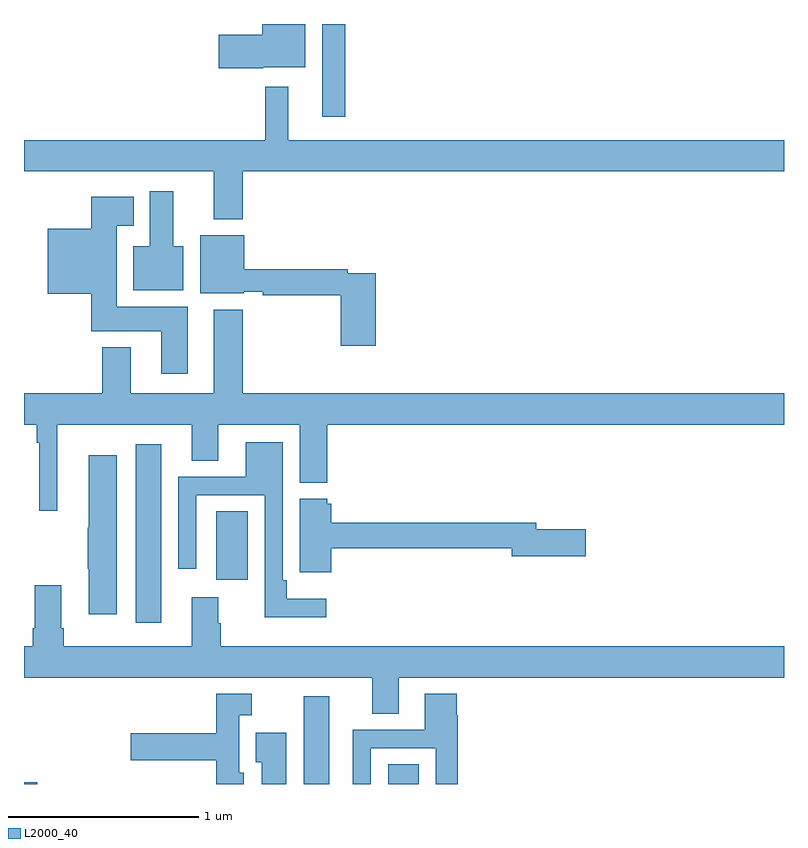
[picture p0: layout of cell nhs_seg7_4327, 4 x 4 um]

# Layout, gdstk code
import gdstk
lib = gdstk.Library(unit=1e-6, precision=1e-09)
def R(c, l, rs):  # rectangles x0, y0, x1, y1
    for r in rs: c.add(gdstk.rectangle(r[:2], r[2:], *l))
def P(c, l, *ps):  # polygons
    for p in ps: c.add(gdstk.Polygon(p, *l))
L2000_40 = (2000, 40)

nhs_seg7_4327 = lib.new_cell('nhs_seg7_4327')
R(nhs_seg7_4327, L2000_40, [(383,1056,383.071,1056.008), (384.473,1056,384.607,1056.463), (384.917,1056,385.078,1056.104), (383.588,1056.849,383.722,1057.789), (384.011,1057.074,384.178,1057.436), (384.569,1059.513,384.691,1060)])
P(nhs_seg7_4327, L2000_40, [(384.258,1059.773),(384.481,1059.773),(384.481,1060),(384.254,1060),(384.254,1059.944),(384.024,1059.944),(384.024,1059.766),(384.258,1059.766)],
  [(384.152,1059.224),(387,1059.224),(387,1059.388),(384.391,1059.388),(384.391,1059.67),(384.27,1059.67),(384.27,1059.388),(383,1059.388),(383,1059.224),(383.999,1059.224),(383.999,1058.972),(384.152,1058.972)],
  [(383.839,1058.83),(383.785,1058.83),(383.785,1059.121),(383.663,1059.121),(383.663,1058.83),(383.576,1058.83),(383.576,1058.6),(383.839,1058.6)],
  [(383.863,1058.512),(383.488,1058.512),(383.488,1058.939),(383.578,1058.939),(383.578,1059.091),(383.354,1059.091),(383.354,1058.923),(383.126,1058.923),(383.126,1058.579),(383.354,1058.579),(383.354,1058.384),(383.723,1058.384),(383.723,1058.16),(383.863,1058.16)],
  [(384.851,1058.688),(384.704,1058.688),(384.704,1058.708),(384.16,1058.708),(384.16,1058.887),(383.927,1058.887),(383.927,1058.582),(384.156,1058.582),(384.156,1058.592),(384.256,1058.592),(384.256,1058.572),(384.668,1058.572),(384.668,1058.307),(384.851,1058.307)],
  [(383.176,1057.892),(383.882,1057.892),(383.882,1057.702),(384.022,1057.702),(384.022,1057.892),(384.452,1057.892),(384.452,1057.586),(384.596,1057.586),(384.596,1057.892),(387,1057.892),(387,1058.056),(384.152,1058.056),(384.152,1058.497),(383.999,1058.497),(383.999,1058.056),(383.563,1058.056),(383.563,1058.299),(383.411,1058.299),(383.411,1058.056),(383,1058.056),(383,1057.892),(383.066,1057.892),(383.066,1057.796),(383.079,1057.796),(383.079,1057.437),(383.176,1057.437)],
  [(384.592,1056.976),(384.383,1056.976),(384.383,1057.072),(384.363,1057.072),(384.363,1057.798),(384.167,1057.798),(384.167,1057.617),(383.811,1057.617),(383.811,1057.134),(383.907,1057.134),(383.907,1057.521),(384.267,1057.521),(384.267,1056.878),(384.592,1056.878)],
  [(383.488,1057.729),(383.342,1057.729),(383.342,1057.349),(383.335,1057.349),(383.335,1057.132),(383.342,1057.132),(383.342,1056.894),(383.488,1056.894)],
  [(384.616,1057.24),(385.568,1057.24),(385.568,1057.198),(385.957,1057.198),(385.957,1057.34),(385.696,1057.34),(385.696,1057.376),(384.616,1057.376),(384.616,1057.476),(384.597,1057.476),(384.597,1057.501),(384.452,1057.501),(384.452,1057.115),(384.616,1057.115)],
  [(384.973,1056.56),(387,1056.56),(387,1056.724),(384.035,1056.724),(384.035,1056.845),(384.022,1056.845),(384.022,1056.982),(383.882,1056.982),(383.882,1056.724),(383.21,1056.724),(383.21,1056.82),(383.197,1056.82),(383.197,1057.045),(383.057,1057.045),(383.057,1056.82),(383.045,1056.82),(383.045,1056.724),(383,1056.724),(383,1056.56),(384.833,1056.56),(384.833,1056.37),(384.973,1056.37)],
  [(384.157,1056.06),(384.133,1056.06),(384.133,1056.362),(384.199,1056.362),(384.199,1056.475),(384.012,1056.475),(384.012,1056.267),(383.562,1056.267),(383.562,1056.125),(384.012,1056.125),(384.012,1056),(384.157,1056)],
  [(384.825,1056.189),(385.167,1056.189),(385.167,1056),(385.283,1056),(385.283,1056.362),(385.277,1056.362),(385.277,1056.475),(385.109,1056.475),(385.109,1056.285),(384.729,1056.285),(384.729,1056),(384.825,1056)],
  [(384.379,1056.271),(384.221,1056.271),(384.221,1056.115),(384.251,1056.115),(384.251,1056),(384.379,1056)])

lib.write_gds('nhs_seg7_4327.gds')
